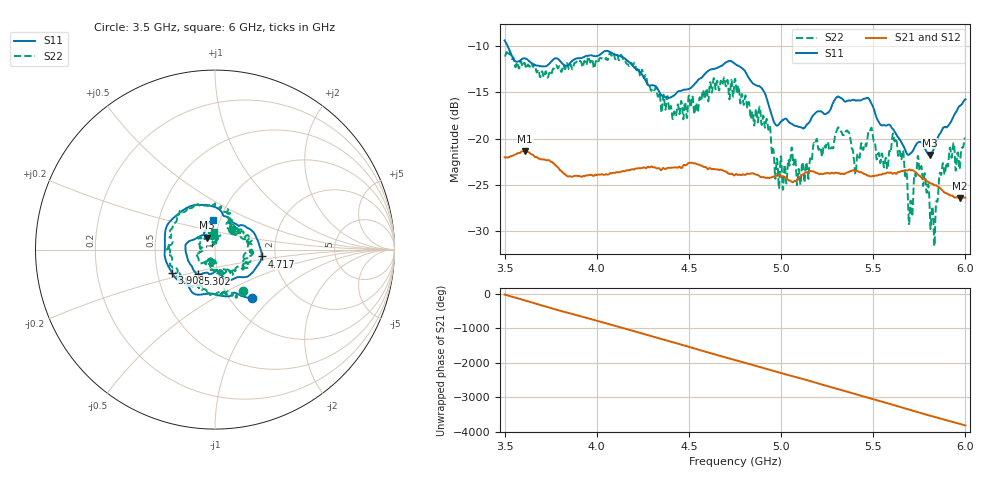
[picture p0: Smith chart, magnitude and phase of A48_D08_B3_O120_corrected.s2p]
! Created with skrf 1.9.0 (http://scikit-rf.org).
# Hz S RI R 50.0
!freq ReS11 ImS11 ReS21 ImS21 ReS12 ImS12 ReS22 ImS22
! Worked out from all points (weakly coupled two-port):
!   1601 points, 3.5 GHz to 6 GHz, reference 50 ohm
!   highest |S21| = -21.32 dB at 3.611 GHz (marker M1); lowest = -26.4 dB at 5.97 GHz (marker M2)
!   lowest |S11| = -21.8 dB at 5.806 GHz (marker M3), VSWR 1.18, Z = 45.1 + j6.04 ohm
!   |S11| at or under -10 dB: 3.517 GHz to end of sweep
!   |S22| runs from -31.6 to -10.6 dB; largest |S21 - S12| = 0.0011
!   S11 on the Smith chart (normalised r, x): 3.5 GHz: 1.26, -0.77; 3.908 GHz: 0.60, -0.17; 4.717 GHz: 1.70, -0.14; 5.302 GHz: 0.80, -0.22; 6 GHz: 0.93, +0.31
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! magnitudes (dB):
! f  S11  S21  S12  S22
! 3.5 GHz  -9.4  -22.0  -22.0  -11.1
! 3.611 GHz  -11.3  -21.3  -21.3  -11.9
! 3.908 GHz  -11.3  -24.1  -24.0  -11.6
! 3.917 GHz  -11.3  -24.1  -24.1  -11.8
! 4.139 GHz  -11.2  -23.5  -23.5  -11.3
! 4.334 GHz  -14.8  -23.2  -23.1  -15.4
! 4.42 GHz  -15.3  -23.1  -23.1  -17.1
! 4.717 GHz  -11.6  -23.8  -23.9  -15.4
! 4.75 GHz  -11.9  -23.9  -23.9  -13.5
! 4.93 GHz  -16.2  -24.2  -24.2  -18.9
! 4.98 GHz  -18.6  -24.0  -24.0  -22.4
! 5.167 GHz  -17.7  -23.5  -23.5  -22.2
! 5.302 GHz  -15.5  -23.7  -23.7  -19.2
! 5.584 GHz  -18.5  -23.7  -23.7  -21.8
! 5.655 GHz  -20.5  -23.5  -23.4  -22.1
! 5.702 GHz  -21.6  -23.4  -23.4  -26.8
! 5.75 GHz  -20.3  -24.0  -24.0  -23.3
! 5.806 GHz  -21.8  -24.8  -24.8  -27.5
! 5.823 GHz  -21.3  -24.9  -24.9  -27.8
! 5.87 GHz  -19.2  -25.5  -25.5  -23.8
! 5.97 GHz  -16.4  -26.4  -26.4  -23.1
! 6 GHz  -15.7  -26.4  -26.3  -20.0
